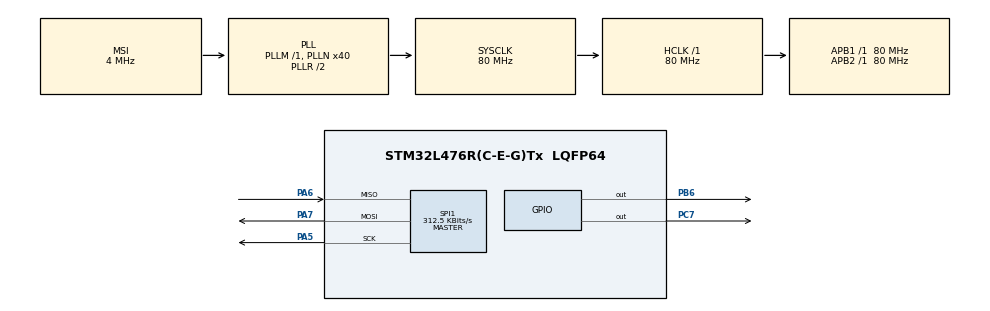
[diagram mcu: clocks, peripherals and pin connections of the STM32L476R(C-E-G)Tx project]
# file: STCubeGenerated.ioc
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Mcu.Family=STM32L4
Mcu.Name=STM32L476R(C-E-G)Tx
Mcu.Package=LQFP64
NVIC.PriorityGroup=NVIC_PRIORITYGROUP_4
PA5.GPIO_Speed=GPIO_SPEED_FREQ_HIGH
PA5.Mode=Full_Duplex_Master
PA5.Signal=SPI1_SCK
PA6.GPIO_PuPd=GPIO_NOPULL
PA6.GPIO_Speed=GPIO_SPEED_FREQ_HIGH
PA6.Mode=Full_Duplex_Master
PA6.Signal=SPI1_MISO
PA7.GPIO_PuPd=GPIO_NOPULL
PA7.GPIO_Speed=GPIO_SPEED_FREQ_HIGH
PA7.Mode=Full_Duplex_Master
PA7.Signal=SPI1_MOSI
PB6.PinState=GPIO_PIN_SET
PB6.Signal=GPIO_Output
PC7.Signal=GPIO_Output
ProjectManager.HeapSize=0x200
ProjectManager.StackSize=0x400
ProjectManager.TargetToolchain=Makefile
RCC.ADCFreq_Value=16000000
RCC.AHBFreq_Value=80000000
RCC.APB1Freq_Value=80000000
RCC.APB1TimFreq_Value=80000000
RCC.APB2Freq_Value=80000000
RCC.APB2TimFreq_Value=80000000
RCC.CortexFreq_Value=80000000
RCC.HCLKFreq_Value=80000000
RCC.HSE_VALUE=8000000
RCC.HSI_VALUE=16000000
RCC.LSE_VALUE=32768
RCC.MSI_VALUE=4000000
RCC.PLLN=40
RCC.SYSCLKFreq_VALUE=80000000
RCC.SYSCLKSource=RCC_SYSCLKSOURCE_PLLCLK
RCC.USBFreq_Value=16000000
RCC.VCOOutputFreq_Value=160000000
SPI1.BaudRatePrescaler=SPI_BAUDRATEPRESCALER_256
SPI1.CRCCalculation=SPI_CRCCALCULATION_DISABLE
SPI1.CalculateBaudRate=312.5 KBits/s
SPI1.DataSize=SPI_DATASIZE_8BIT
SPI1.Direction=SPI_DIRECTION_2LINES
SPI1.FirstBit=SPI_FIRSTBIT_MSB
SPI1.Mode=SPI_MODE_MASTER
SPI1.TIMode=SPI_TIMODE_DISABLE
SPI1.VirtualType=VM_MASTER
board=STCubeGenerated

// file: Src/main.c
/**
  ******************************************************************************
  * File Name          : main.c
  * Description        : Main program body
  ******************************************************************************
  ** This notice applies to any and all portions of this file
  * that are not between comment pairs USER CODE BEGIN and
  * USER CODE END. Other portions of this file, whether
  * inserted by the user or by software development tools
  * are owned by their respective copyright owners.
  *
  * COPYRIGHT(c) 2018 STMicroelectronics
  *
  * Redistribution and use in source and binary forms, with or without modification,
  * are permitted provided that the following conditions are met:
  *   1. Redistributions of source code must retain the above copyright notice,
  *      this list of conditions and the following disclaimer.
  *   2. Redistributions in binary form must reproduce the above copyright notice,
  *      this list of conditions and the following disclaimer in the documentation
  *      and/or other materials provided with the distribution.
  *   3. Neither the name of STMicroelectronics nor the names of its contributors
  *      may be used to endorse or promote products derived from this software
  *      without specific prior written permission.
  *
  * THIS SOFTWARE IS PROVIDED BY THE COPYRIGHT HOLDERS AND CONTRIBUTORS "AS IS"
  * AND ANY EXPRESS OR IMPLIED WARRANTIES, INCLUDING, BUT NOT LIMITED TO, THE
  * IMPLIED WARRANTIES OF MERCHANTABILITY AND FITNESS FOR A PARTICULAR PURPOSE ARE
  * DISCLAIMED. IN NO EVENT SHALL THE COPYRIGHT HOLDER OR CONTRIBUTORS BE LIABLE
  * FOR ANY DIRECT, INDIRECT, INCIDENTAL, SPECIAL, EXEMPLARY, OR CONSEQUENTIAL
  * DAMAGES (INCLUDING, BUT NOT LIMITED TO, PROCUREMENT OF SUBSTITUTE GOODS OR
  * SERVICES; LOSS OF USE, DATA, OR PROFITS; OR BUSINESS INTERRUPTION) HOWEVER
  * CAUSED AND ON ANY THEORY OF LIABILITY, WHETHER IN CONTRACT, STRICT LIABILITY,
  * OR TORT (INCLUDING NEGLIGENCE OR OTHERWISE) ARISING IN ANY WAY OUT OF THE USE
  * OF THIS SOFTWARE, EVEN IF ADVISED OF THE POSSIBILITY OF SUCH DAMAGE.
  *
  ******************************************************************************
  */
#include "main.h"
#include "stm32l4xx_hal.h"

/* USER CODE BEGIN Includes */
#include "stm32l4xx_ll_spi.h"
#define SPI1_DR (*(volatile unsigned long*)0x4001300C)

/* USER CODE END Includes */

SPI_HandleTypeDef hspi1;

/* USER CODE BEGIN PV */
/* Private variables ---------------------------------------------------------*/

/* USER CODE END PV */

void SystemClock_Config(void);
static void MX_GPIO_Init(void);
static void MX_SPI1_Init(void);

/* USER CODE BEGIN PFP */
/* Private function prototypes -----------------------------------------------*/

uint8_t SPI_sprejmi_bajt(uint8_t data);
void SPI_poslji_bajt(uint8_t naslov, uint8_t vrednost);
void sprejmiRadio(void);
void posljiRadio(void);

/* USER CODE END PFP */

/* USER CODE BEGIN 0 */

uint8_t TxSPI[6] = {0xFF, 0xFF, 0xFF, 0xFF, 0xFF, 0xFF};
uint8_t RxSPI[6] = {0xFF, 0xFF, 0xFF, 0xFF, 0xFF, 0xFF};

uint8_t test[33];

/* USER CODE END 0 */

int main(void)
{

  /* MCU Configuration----------------------------------------------------------*/

  /* Reset of all peripherals, Initializes the Flash interface and the Systick. */
  HAL_Init();

  /* Configure the system clock */
  SystemClock_Config();

  /* Initialize all configured peripherals */
  MX_GPIO_Init();
  MX_SPI1_Init();

  /* USER CODE BEGIN 2 */
  int i = 0;

	// Nastavi RX naslov za 0. pipo
	//LSBajt gre prvi
	TxSPI[0] = 0x0A | (1 << 5);
	TxSPI[1] = 0xE1;
	TxSPI[2] = 0xF0;
	TxSPI[3] = 0xF0;
	TxSPI[4] = 0xE8;
	TxSPI[5] = 0xE8;
	HAL_GPIO_WritePin(GPIOB, GPIO_PIN_6, GPIO_PIN_RESET);
	HAL_SPI_Transmit(&hspi1, TxSPI, 6, 100);
	HAL_GPIO_WritePin(GPIOB, GPIO_PIN_6, GPIO_PIN_SET);

	// Nastavi RX naslov za 1. pipo
	//LSBajt gre prvi
	TxSPI[0] = 0x0B | (1 << 5);
	TxSPI[1] = 0x88;
	TxSPI[2] = 0xF0;
	TxSPI[3] = 0xF0;
	TxSPI[4] = 0xE8;
	TxSPI[5] = 0xE8;
	HAL_GPIO_WritePin(GPIOB, GPIO_PIN_6, GPIO_PIN_RESET);
	HAL_SPI_Transmit(&hspi1, TxSPI, 6, 100);
	HAL_GPIO_WritePin(GPIOB, GPIO_PIN_6, GPIO_PIN_SET);

	// Nastavi TX naslov
	//LSBajt gre prvi
	TxSPI[0] = 0x10 | (1 << 5);
	TxSPI[1] = 0xE1;
	TxSPI[2] = 0xF0;
	TxSPI[3] = 0xF0;
	TxSPI[4] = 0xE8;
	TxSPI[5] = 0xE8;
	HAL_GPIO_WritePin(GPIOB, GPIO_PIN_6, GPIO_PIN_RESET);
	HAL_SPI_Transmit(&hspi1, TxSPI, 6, 100);
	HAL_GPIO_WritePin(GPIOB, GPIO_PIN_6, GPIO_PIN_SET);

	// Nastavi 5 bajtov za sprejem za 0. pipo
	TxSPI[0] = 0x11 | (1 << 5);
	TxSPI[1] = 32;
	HAL_GPIO_WritePin(GPIOB, GPIO_PIN_6, GPIO_PIN_RESET);
	HAL_SPI_Transmit(&hspi1, TxSPI, 2, 100);
	HAL_GPIO_WritePin(GPIOB, GPIO_PIN_6, GPIO_PIN_SET);

	// Nastavi 5 bajtov za sprejem za 1. pipo
	TxSPI[0] = 0x12 | (1 << 5);
	TxSPI[1] = 32;
	HAL_GPIO_WritePin(GPIOB, GPIO_PIN_6, GPIO_PIN_RESET);
	HAL_SPI_Transmit(&hspi1, TxSPI, 2, 100);
	HAL_GPIO_WritePin(GPIOB, GPIO_PIN_6, GPIO_PIN_SET);

	// Nastavi RX in vklopi
	TxSPI[0] = 0x00 | (1 << 5);
	TxSPI[1] = 0x0F;
	HAL_GPIO_WritePin(GPIOB, GPIO_PIN_6, GPIO_PIN_RESET);
	HAL_SPI_Transmit(&hspi1, TxSPI, 2, 100);
	HAL_GPIO_WritePin(GPIOB, GPIO_PIN_6, GPIO_PIN_SET);

	// Nastavi frekvenco na 2400 + 76 MHz
	TxSPI[0] = 0x05 | (1 << 5);
	TxSPI[1] = 76;
	HAL_GPIO_WritePin(GPIOB, GPIO_PIN_6, GPIO_PIN_RESET);
	HAL_SPI_Transmit(&hspi1, TxSPI, 2, 100);
	HAL_GPIO_WritePin(GPIOB, GPIO_PIN_6, GPIO_PIN_SET);

	// Nastavi SETUP_RETR register
	TxSPI[0] = 0x04 | (1 << 5);
	TxSPI[1] = 0x5F;
	HAL_GPIO_WritePin(GPIOB, GPIO_PIN_6, GPIO_PIN_RESET);
	HAL_SPI_Transmit(&hspi1, TxSPI, 2, 100);
	HAL_GPIO_WritePin(GPIOB, GPIO_PIN_6, GPIO_PIN_SET);

	// Nastavi RF_SETUP register
	TxSPI[0] = 0x06 | (1 << 5);
	TxSPI[1] = 0x02;
	HAL_GPIO_WritePin(GPIOB, GPIO_PIN_6, GPIO_PIN_RESET);
	HAL_SPI_Transmit(&hspi1, TxSPI, 2, 100);
	HAL_GPIO_WritePin(GPIOB, GPIO_PIN_6, GPIO_PIN_SET);

	// Nastavi STATUS register
	TxSPI[0] = 0x07 | (1 << 5);
	TxSPI[1] = 0x70;
	HAL_GPIO_WritePin(GPIOB, GPIO_PIN_6, GPIO_PIN_RESET);
	HAL_SPI_Transmit(&hspi1, TxSPI, 2, 100);
	HAL_GPIO_WritePin(GPIOB, GPIO_PIN_6, GPIO_PIN_SET);

	// Nastavi ACTIVATE
	TxSPI[0] = 0x50;
	TxSPI[1] = 0x73;
	HAL_GPIO_WritePin(GPIOB, GPIO_PIN_6, GPIO_PIN_RESET);
	HAL_SPI_Transmit(&hspi1, TxSPI, 2, 100);
	HAL_GPIO_WritePin(GPIOB, GPIO_PIN_6, GPIO_PIN_SET);

	// Splakni RX in TXbuffer
	TxSPI[0] = 0xE2;	// Splakni RX buffer
	HAL_GPIO_WritePin(GPIOB, GPIO_PIN_6, GPIO_PIN_RESET);
	HAL_SPI_Transmit(&hspi1, TxSPI, 1, 100);
	HAL_GPIO_WritePin(GPIOB, GPIO_PIN_6, GPIO_PIN_SET);

	TxSPI[0] = 0xE1;	// Splakni TX buffer
	HAL_GPIO_WritePin(GPIOB, GPIO_PIN_6, GPIO_PIN_RESET);
	HAL_SPI_Transmit(&hspi1, TxSPI, 1, 100);
	HAL_GPIO_WritePin(GPIOB, GPIO_PIN_6, GPIO_PIN_SET);

  /* USER CODE END 2 */

  /* Infinite loop */
  while (1)
  {

  /* USER CODE BEGIN 3 */
		i = 0;

		sprejmiRadio();

		posljiRadio();

		if (i)
		{
			HAL_GPIO_WritePin(GPIOB, GPIO_PIN_6, GPIO_PIN_RESET);
			HAL_SPI_Transmit(&hspi1, TxSPI, 2, 100);
			HAL_GPIO_WritePin(GPIOB, GPIO_PIN_6, GPIO_PIN_SET);
		}

  }
  /* USER CODE END 3 */

}

/** System Clock Configuration
*/
void SystemClock_Config(void)
{

  RCC_OscInitTypeDef RCC_OscInitStruct;
  RCC_ClkInitTypeDef RCC_ClkInitStruct;

    /**Initializes the CPU, AHB and APB busses clocks
    */
  RCC_OscInitStruct.OscillatorType = RCC_OSCILLATORTYPE_MSI;
  RCC_OscInitStruct.MSIState = RCC_MSI_ON;
  RCC_OscInitStruct.MSICalibrationValue = 0;
  RCC_OscInitStruct.MSIClockRange = RCC_MSIRANGE_6;
  RCC_OscInitStruct.PLL.PLLState = RCC_PLL_ON;
  RCC_OscInitStruct.PLL.PLLSource = RCC_PLLSOURCE_MSI;
  RCC_OscInitStruct.PLL.PLLM = 1;
  RCC_OscInitStruct.PLL.PLLN = 40;
  RCC_OscInitStruct.PLL.PLLP = RCC_PLLP_DIV7;
  RCC_OscInitStruct.PLL.PLLQ = RCC_PLLQ_DIV2;
  RCC_OscInitStruct.PLL.PLLR = RCC_PLLR_DIV2;
  if (HAL_RCC_OscConfig(&RCC_OscInitStruct) != HAL_OK)
  {
    _Error_Handler(__FILE__, __LINE__);
  }

    /**Initializes the CPU, AHB and APB busses clocks
    */
  RCC_ClkInitStruct.ClockType = RCC_CLOCKTYPE_HCLK|RCC_CLOCKTYPE_SYSCLK
                              |RCC_CLOCKTYPE_PCLK1|RCC_CLOCKTYPE_PCLK2;
  RCC_ClkInitStruct.SYSCLKSource = RCC_SYSCLKSOURCE_PLLCLK;
  RCC_ClkInitStruct.AHBCLKDivider = RCC_SYSCLK_DIV1;
  RCC_ClkInitStruct.APB1CLKDivider = RCC_HCLK_DIV1;
  RCC_ClkInitStruct.APB2CLKDivider = RCC_HCLK_DIV1;

  if (HAL_RCC_ClockConfig(&RCC_ClkInitStruct, FLASH_LATENCY_4) != HAL_OK)
  {
    _Error_Handler(__FILE__, __LINE__);
  }

    /**Configure the main internal regulator output voltage
    */
  if (HAL_PWREx_ControlVoltageScaling(PWR_REGULATOR_VOLTAGE_SCALE1) != HAL_OK)
  {
    _Error_Handler(__FILE__, __LINE__);
  }

    /**Configure the Systick interrupt time
    */
  HAL_SYSTICK_Config(HAL_RCC_GetHCLKFreq()/1000);

    /**Configure the Systick
    */
  HAL_SYSTICK_CLKSourceConfig(SYSTICK_CLKSOURCE_HCLK);

  /* SysTick_IRQn interrupt configuration */
  HAL_NVIC_SetPriority(SysTick_IRQn, 0, 0);
}

/* SPI1 init function */
static void MX_SPI1_Init(void)
{

  hspi1.Instance = SPI1;
  hspi1.Init.Mode = SPI_MODE_MASTER;
  hspi1.Init.Direction = SPI_DIRECTION_2LINES;
  hspi1.Init.DataSize = SPI_DATASIZE_8BIT;
  hspi1.Init.CLKPolarity = SPI_POLARITY_LOW;
  hspi1.Init.CLKPhase = SPI_PHASE_1EDGE;
  hspi1.Init.NSS = SPI_NSS_SOFT;
  hspi1.Init.BaudRatePrescaler = SPI_BAUDRATEPRESCALER_256;
  hspi1.Init.FirstBit = SPI_FIRSTBIT_MSB;
  hspi1.Init.TIMode = SPI_TIMODE_DISABLE;
  hspi1.Init.CRCCalculation = SPI_CRCCALCULATION_DISABLE;
  hspi1.Init.CRCPolynomial = 7;
  hspi1.Init.CRCLength = SPI_CRC_LENGTH_DATASIZE;
  hspi1.Init.NSSPMode = SPI_NSS_PULSE_ENABLE;
  if (HAL_SPI_Init(&hspi1) != HAL_OK)
  {
    _Error_Handler(__FILE__, __LINE__);
  }

}

/** Configure pins as
        * Analog
        * Input
        * Output
        * EVENT_OUT
        * EXTI
*/
static void MX_GPIO_Init(void)
{

  GPIO_InitTypeDef GPIO_InitStruct;

  /* GPIO Ports Clock Enable */
  __HAL_RCC_GPIOA_CLK_ENABLE();
  __HAL_RCC_GPIOC_CLK_ENABLE();
  __HAL_RCC_GPIOB_CLK_ENABLE();

  /*Configure GPIO pin Output Level */
  HAL_GPIO_WritePin(GPIOC, GPIO_PIN_7, GPIO_PIN_RESET);

  /*Configure GPIO pin Output Level */
  HAL_GPIO_WritePin(GPIOB, GPIO_PIN_6, GPIO_PIN_SET);

  /*Configure GPIO pin : PC7 */
  GPIO_InitStruct.Pin = GPIO_PIN_7;
  GPIO_InitStruct.Mode = GPIO_MODE_OUTPUT_PP;
  GPIO_InitStruct.Pull = GPIO_NOPULL;
  GPIO_InitStruct.Speed = GPIO_SPEED_FREQ_LOW;
  HAL_GPIO_Init(GPIOC, &GPIO_InitStruct);

  /*Configure GPIO pin : PB6 */
  GPIO_InitStruct.Pin = GPIO_PIN_6;
  GPIO_InitStruct.Mode = GPIO_MODE_OUTPUT_PP;
  GPIO_InitStruct.Pull = GPIO_NOPULL;
  GPIO_InitStruct.Speed = GPIO_SPEED_FREQ_LOW;
  HAL_GPIO_Init(GPIOB, &GPIO_InitStruct);

}

/* USER CODE BEGIN 4 */

uint8_t SPI_sprejmi_bajt(uint8_t data)
{
	uint8_t buffer[6] = {10, 10, 10, 10, 10, 10};
	//buffer[0] = data;
	HAL_SPI_Receive(&hspi1, buffer, 6, 100);

	return buffer[1];
}

void SPI_poslji_bajt(uint8_t naslov, uint8_t vrednost)
{
	TxSPI[0] = 0x0A | (1 << 5);
	TxSPI[1] = 0xE8;
	TxSPI[2] = 0xE8;
	TxSPI[3] = 0xF0;
	TxSPI[4] = 0xF0;
	TxSPI[5] = 0xE1;
	HAL_GPIO_WritePin(GPIOB, GPIO_PIN_6, GPIO_PIN_RESET);
	HAL_SPI_Receive(&hspi1, TxSPI, 6, 100);
	HAL_GPIO_WritePin(GPIOB, GPIO_PIN_6, GPIO_PIN_SET);

}

void sprejmiRadio()
{
	// 1. postavi PRIM_RX = 1
	TxSPI[0] = 0x00 | (1 << 5);
	TxSPI[1] = 0x0F;
	HAL_GPIO_WritePin(GPIOB, GPIO_PIN_6, GPIO_PIN_RESET);
	HAL_SPI_Transmit(&hspi1, TxSPI, 2, 100);
	HAL_GPIO_WritePin(GPIOB, GPIO_PIN_6, GPIO_PIN_SET);

	TxSPI[0] = 0x07 | (1 << 5);
	TxSPI[1] = 0x70;
	HAL_GPIO_WritePin(GPIOB, GPIO_PIN_6, GPIO_PIN_RESET);
	HAL_SPI_Transmit(&hspi1, TxSPI, 2, 100);
	HAL_GPIO_WritePin(GPIOB, GPIO_PIN_6, GPIO_PIN_SET);

	// 2. postavi CE=1
	HAL_GPIO_WritePin(GPIOC, GPIO_PIN_7, GPIO_PIN_SET);

	// 3. pocakaj 130 us
	HAL_Delay(130);

	// 4. ali so podatki prišli?
	RxSPI[0] = 0x17;
	RxSPI[1] = 0xFF;
	HAL_GPIO_WritePin(GPIOB, GPIO_PIN_6, GPIO_PIN_RESET);
	HAL_SPI_Receive(&hspi1, RxSPI, 2, 100);
	HAL_GPIO_WritePin(GPIOB, GPIO_PIN_6, GPIO_PIN_SET);

	// 5. postavi CE=0
	HAL_GPIO_WritePin(GPIOC, GPIO_PIN_7, GPIO_PIN_SET);

	if(!(RxSPI[1] & (1 << 0)))
	{//podatki so prišli
		test[0] = 0x61;
		HAL_GPIO_WritePin(GPIOB, GPIO_PIN_6, GPIO_PIN_RESET);
		HAL_SPI_Receive(&hspi1, test, 33, 100);
		HAL_GPIO_WritePin(GPIOB, GPIO_PIN_6, GPIO_PIN_SET);
	}
	else
	{// splaknem RX FIFO
		TxSPI[0] = 0xE2;
		HAL_GPIO_WritePin(GPIOB, GPIO_PIN_6, GPIO_PIN_RESET);
		HAL_SPI_Transmit(&hspi1, TxSPI, 1, 100);
		HAL_GPIO_WritePin(GPIOB, GPIO_PIN_6, GPIO_PIN_SET);
	}

}

void posljiRadio()
{
	// 1. postavi PRIM_RX = 0

	//postavi CE=0
	HAL_GPIO_WritePin(GPIOC, GPIO_PIN_7, GPIO_PIN_RESET);

	TxSPI[0] = 0x00 | (1 << 5);
	TxSPI[1] = 0x0E;
	HAL_GPIO_WritePin(GPIOB, GPIO_PIN_6, GPIO_PIN_RESET);
	HAL_SPI_Transmit(&hspi1, TxSPI, 2, 100);
	HAL_GPIO_WritePin(GPIOB, GPIO_PIN_6, GPIO_PIN_SET);

	TxSPI[0] = 0x07 | (1 << 5);
	TxSPI[1] = 0x70;
	HAL_GPIO_WritePin(GPIOB, GPIO_PIN_6, GPIO_PIN_RESET);
	HAL_SPI_Transmit(&hspi1, TxSPI, 2, 100);
	HAL_GPIO_WritePin(GPIOB, GPIO_PIN_6, GPIO_PIN_SET);

	// 2. naloži podatke v pomnilnik
	test[0] = 0xA0; // naslov pomnilnika
	test[1] = 0x12;
	test[2] = 0x34;
	test[3] = 0x56;
	test[4] = 0x78;
	HAL_GPIO_WritePin(GPIOB, GPIO_PIN_6, GPIO_PIN_RESET);
	HAL_SPI_Transmit(&hspi1, test, 33, 100);
	HAL_GPIO_WritePin(GPIOB, GPIO_PIN_6, GPIO_PIN_SET);

	RxSPI[0] = 0x17;
	RxSPI[1] = 0xFF;
	HAL_GPIO_WritePin(GPIOB, GPIO_PIN_6, GPIO_PIN_RESET);
	HAL_SPI_Receive(&hspi1, RxSPI, 2, 100);
	HAL_GPIO_WritePin(GPIOB, GPIO_PIN_6, GPIO_PIN_SET);

	// 3. pošlji vsaj 10 us pulz na CE za prenos paketa
	HAL_GPIO_WritePin(GPIOC, GPIO_PIN_7, GPIO_PIN_SET);
	HAL_Delay(20);
	HAL_GPIO_WritePin(GPIOC, GPIO_PIN_7, GPIO_PIN_RESET);

	// 4. ali so podatki prišli?
	RxSPI[0] = 0x17;
	RxSPI[1] = 0xFF;
	HAL_GPIO_WritePin(GPIOB, GPIO_PIN_6, GPIO_PIN_RESET);
	HAL_SPI_Receive(&hspi1, RxSPI, 2, 100);
	HAL_GPIO_WritePin(GPIOB, GPIO_PIN_6, GPIO_PIN_SET);

	if(RxSPI[0] & (1 << 5))
	{//podatki so bili dostavljeni
		TxSPI[0] = 0x07 | (1 << 5);
		TxSPI[1] = 0x70;
		HAL_GPIO_WritePin(GPIOB, GPIO_PIN_6, GPIO_PIN_RESET);
		HAL_SPI_Transmit(&hspi1, TxSPI, 2, 100);
		HAL_GPIO_WritePin(GPIOB, GPIO_PIN_6, GPIO_PIN_SET);
	}
	else
	{// splaknem TX FIFO
		TxSPI[0] = 0xE1;
		HAL_GPIO_WritePin(GPIOB, GPIO_PIN_6, GPIO_PIN_RESET);
		HAL_SPI_Transmit(&hspi1, TxSPI, 1, 100);
		HAL_GPIO_WritePin(GPIOB, GPIO_PIN_6, GPIO_PIN_SET);
	}
}

/* USER CODE END 4 */

void _Error_Handler(char * file, int line)
{
  while(1)
  {
  }
}

/************************ (C) COPYRIGHT STMicroelectronics *****END OF FILE****/
